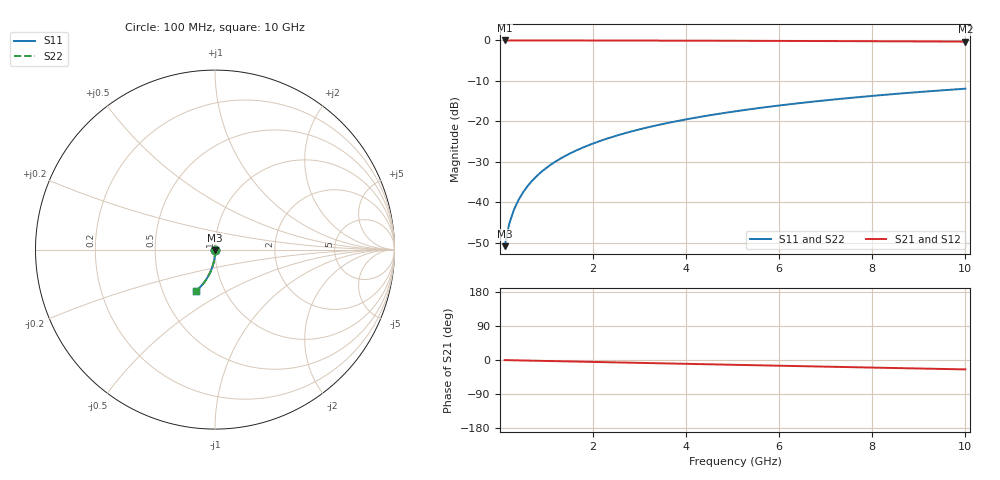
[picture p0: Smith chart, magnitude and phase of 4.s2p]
# Hz S RI R 50.00
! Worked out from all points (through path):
!   100 points, 100 MHz to 10 GHz, reference 50 ohm
!   highest |S21| = -0.01 dB at 100 MHz (marker M1); lowest = -0.3 dB at 10 GHz (marker M2)
!   group delay of S21, straight-line fit = 6.9 ps
!   lowest |S11| = -50.9 dB at 100 MHz (marker M3), VSWR 1.01, Z = 50.1 - j0.267 ohm
!   |S11| at or under -10 dB: start of sweep to end of sweep
!   |S22| runs from -50.9 to -11.9 dB; largest |S21 - S12| = 0
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1e8  0.00104 -0.00267  0.9989 -0.00441  0.9989 -0.00441  0.00104 -0.00267
2e8  0.001 -0.00534  0.9989 -0.00883  0.9989 -0.00883  0.001 -0.00534
3e8  0.000948 -0.008  0.9988 -0.0132  0.9988 -0.0132  0.000948 -0.008
4e8  0.000866 -0.0107  0.9987 -0.0176  0.9987 -0.0176  0.000866 -0.0107
5e8  0.000761 -0.0133  0.9986 -0.0221  0.9986 -0.0221  0.000761 -0.0133
6e8  0.000631 -0.016  0.9984 -0.0265  0.9984 -0.0265  0.000631 -0.016
7e8  0.000478 -0.0187  0.9982 -0.0309  0.9982 -0.0309  0.000478 -0.0187
8e8  0.000301 -0.0213  0.998 -0.0353  0.998 -0.0353  0.000301 -0.0213
9e8  9.99e-05 -0.024  0.9978 -0.0397  0.9978 -0.0397  9.99e-05 -0.024
1.1e9  -0.000372 -0.0293  0.9973 -0.0485  0.9973 -0.0485  -0.000372 -0.0293
1.4e9  -0.00126 -0.0372  0.9963 -0.0617  0.9963 -0.0617  -0.00126 -0.0372
1.8e9  -0.00276 -0.0478  0.9945 -0.0792  0.9945 -0.0792  -0.00276 -0.0478
2.1e9  -0.00413 -0.0557  0.993 -0.0923  0.993 -0.0923  -0.00413 -0.0557
2.5e9  -0.00628 -0.0661  0.9905 -0.1097  0.9905 -0.1097  -0.00628 -0.0661
2.9e9  -0.0088 -0.0764  0.9877 -0.127  0.9877 -0.127  -0.0088 -0.0764
3.4e9  -0.0124 -0.0892  0.9835 -0.1485  0.9835 -0.1485  -0.0124 -0.0892
4.2e9  -0.0194 -0.1091  0.9756 -0.1825  0.9756 -0.1825  -0.0194 -0.1091
5.1e9  -0.0288 -0.1309  0.9649 -0.22  0.9649 -0.22  -0.0288 -0.1309
5.9e9  -0.0386 -0.1494  0.9537 -0.2526  0.9537 -0.2526  -0.0386 -0.1494
6.7e9  -0.0495 -0.1672  0.9412 -0.2843  0.9412 -0.2843  -0.0495 -0.1672
8.4e9  -0.0763 -0.2018  0.9103 -0.3488  0.9103 -0.3488  -0.0763 -0.2018
1e10  -0.1054 -0.2301  0.8766 -0.4053  0.8766 -0.4053  -0.1054 -0.2301
